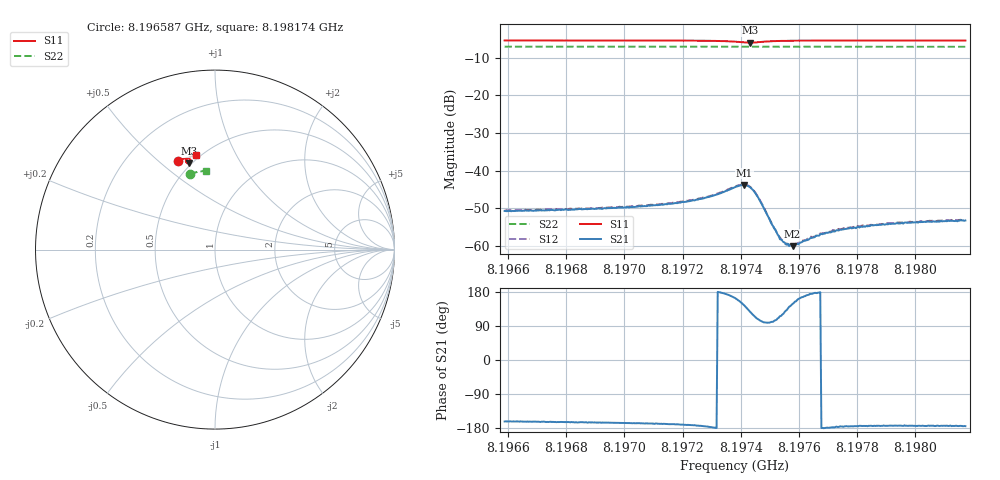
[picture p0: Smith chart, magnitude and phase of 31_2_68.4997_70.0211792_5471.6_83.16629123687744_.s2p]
#  HZ  S  RI  R  50.00
! Rohde & Schwarz Vector Network Analyzer
! Rohde-Schwarz,ZNB20-2Port,1311601062101988,3.16
! Created: UTC 3/20/2024, 4:49:56 PM
! freq[Hz]  re:S11  im:S11  re:S21  im:S21  re:S12  im:S12  re:S22  im:S22
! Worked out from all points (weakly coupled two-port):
!   401 points, 8.196587 GHz to 8.198174 GHz, reference 50 ohm
!   highest |S21| = -43.83 dB at 8.197412 GHz (marker M1); lowest = -60.1 dB at 8.197579 GHz (marker M2)
!   lowest |S11| = -6.0 dB at 8.197432 GHz (marker M3), VSWR 3.01, Z = 24.3 + j31.2 ohm
!   |S11| at or under -10 dB: nowhere
!   |S22| runs from -7.1 to -7.0 dB; largest |S21 - S12| = 0.00035
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8.1965871e9  -0.2082 0.4947  -0.00277 -0.000889  -0.00286 -0.000814  -0.1372 0.4229
8.196853e9  -0.1895 0.5016  -0.00295 -0.000841  -0.00306 -0.000746  -0.1229 0.4269
8.1970236e9  -0.1768 0.5057  -0.0032 -0.000763  -0.00329 -0.000667  -0.1136 0.4293
8.1971188e9  -0.1691 0.5078  -0.00343 -0.000715  -0.00351 -0.000596  -0.1083 0.4303
8.1971863e9  -0.1629 0.5089  -0.00369 -0.00065  -0.0038 -0.000488  -0.1043 0.4312
8.1972696e9  -0.1538 0.5096  -0.00423 -0.000427  -0.00438 -0.000247  -0.0998 0.4322
8.1973291e9  -0.145 0.5077  -0.00497 0.000135  -0.0051 0.000343  -0.0965 0.4326
8.1973807e9  -0.1362 0.499  -0.00579 0.0017  -0.00577 0.00199  -0.0936 0.4328
8.1974125e9  -0.1371 0.4867  -0.00522 0.00377  -0.00513 0.0041  -0.0919 0.433
8.1974323e9  -0.1451 0.4804  -0.00368 0.00479  -0.00351 0.00501  -0.091 0.433
8.1974442e9  -0.1516 0.4802  -0.00258 0.0048  -0.00237 0.00497  -0.0906 0.433
8.1974601e9  -0.1583 0.484  -0.00135 0.00422  -0.00115 0.00432  -0.0899 0.4335
8.1975156e9  -0.1612 0.5009  -0.000394 0.00166  -0.000305 0.0017  -0.0869 0.4344
8.1975355e9  -0.1591 0.5044  -0.000535 0.00111  -0.000481 0.00121  -0.0858 0.4347
8.1975553e9  -0.1568 0.507  -0.000685 0.000821  -0.000652 0.000822  -0.0847 0.4349
8.1975791e9  -0.1541 0.5093  -0.000843 0.000524  -0.000846 0.000606  -0.0832 0.4352
8.1976466e9  -0.1472 0.5135  -0.00128 0.000119  -0.00129 0.000139  -0.0794 0.4357
8.1976863e9  -0.1434 0.5151  -0.00146 -1.02e-06  -0.00148 2.28e-05  -0.0773 0.4362
8.1977418e9  -0.1385 0.5168  -0.00164 -0.000141  -0.00167 -2.83e-05  -0.0742 0.4367
8.1978569e9  -0.1292 0.5194  -0.00187 -0.000196  -0.00189 -0.000129  -0.0676 0.4376
8.1979125e9  -0.1248 0.5205  -0.00197 -0.000234  -0.00198 -0.000115  -0.0647 0.4378
8.1981744e9  -0.1055 0.5248  -0.00217 -0.000206  -0.00222 -0.000141  -0.0497 0.4391
